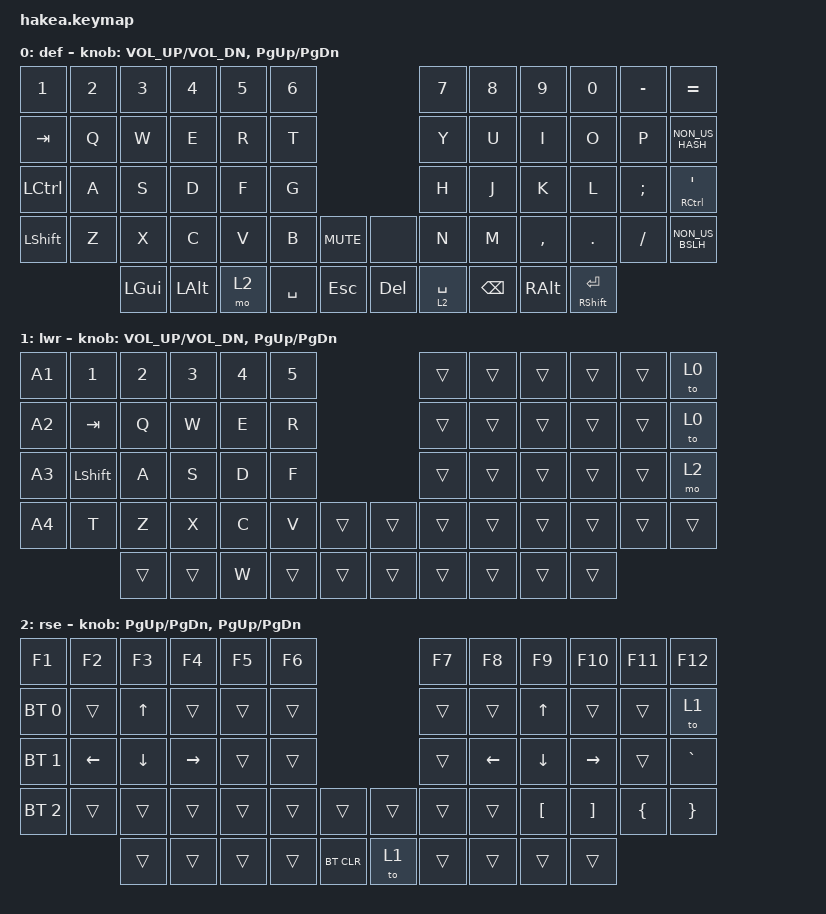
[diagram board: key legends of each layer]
#include <behaviors.dtsi>
#include <dt-bindings/zmk/keys.h>
#include <dt-bindings/zmk/bt.h>
#include <dt-bindings/zmk/outputs.h>
#include <dt-bindings/zmk/rgb.h>
#include <dt-bindings/zmk/ext_power.h>

/ {
    macros {
        A1: A1 {
            label = "alt1";
            compatible = "zmk,behavior-macro";
            #binding-cells = <0>;
            bindings
                = <&macro_press &kp LALT>
				, <&macro_wait_time 50>
				, <&macro_press &kp N1>
				, <&macro_wait_time 100>
				, <&macro_release &kp N1>
				, <&macro_wait_time 10>
                , <&macro_release &kp LALT>
                ;
        };
		A2: A2 {
            label = "alt2";
            compatible = "zmk,behavior-macro";
            #binding-cells = <0>;
            bindings
                = <&macro_press &kp LALT>
				, <&macro_wait_time 50>
				, <&macro_press &kp N2>
				, <&macro_wait_time 100>
				, <&macro_release &kp N2>
				, <&macro_wait_time 10>
                , <&macro_release &kp LALT>
                ;
        };
		A3: A3 {
            label = "alt3";
            compatible = "zmk,behavior-macro";
            #binding-cells = <0>;
            bindings
                = <&macro_press &kp LALT>
				, <&macro_wait_time 50>
				, <&macro_press &kp N2>
				, <&macro_wait_time 100>
				, <&macro_release &kp N3>
				, <&macro_wait_time 10>
                , <&macro_release &kp LALT>
                ;
        };
		A4: A4 {
            label = "alt4";
            compatible = "zmk,behavior-macro";
            #binding-cells = <0>;
            bindings
                = <&macro_press &kp LALT>
				, <&macro_wait_time 50>
				, <&macro_press &kp N2>
				, <&macro_wait_time 100>
				, <&macro_release &kp N4>
				, <&macro_wait_time 10>
                , <&macro_release &kp LALT>
                ;
        };
    };
};

/ {
    keymap {
        compatible = "zmk,keymap";

        default_layer {
            label = "def";
// ------------------------------------------------------------------------------------------------------------
// |   1   |  2  |  3  |  4   |  5   |  6   |               |   7    |  8   |  9  |    0     | - |    =   |
// |  TAB  |  Q  |  W  |  E   |  R   |  T   |               |   Y    |  U   |  I  |    O     | P |    #   |
// | CTRL  |  A  |  S  |  D   |  F   |  G   |               |   H    |  J   |  K  |    L     | ; | CTRL/' |
// | SHIFT |  Z  |  X  |  C   |  V   |  B   | MUTE |  |     |   N    |  M   |  ,  |    .     | / |    \   |
//               | GUI | ALT  |  FN  |  SPC |  ESC |  | DEL | FN/SPC | BSPC | ALT | SHFT/ENT |
            bindings = <
&kp N1 	  &kp N2 &kp N3   &kp N4   &kp N5 &kp N6 					    &kp N7 		&kp N8   &kp N9    &kp N0   	 &kp MINUS &kp EQUAL
&kp TAB   &kp Q  &kp W    &kp E    &kp R  &kp T                         &kp Y  		&kp U    &kp I     &kp O    	 &kp P     &kp NON_US_HASH
&kp LCTRL &kp A  &kp S    &kp D    &kp F  &kp G                         &kp H  		&kp J    &kp K     &kp L    	 &kp SEMI  &mt RCTRL SQT
&kp LSHFT &kp Z  &kp X    &kp C    &kp V  &kp B     &kp C_MUTE	&none   &kp N  		&kp M    &kp COMMA &kp DOT  	 &kp FSLH  &kp NON_US_BSLH
                 &kp LGUI &kp LALT &mo 2  &kp SPACE &kp ESC  	&kp DEL &lt 2 SPACE &kp BSPC &kp RALT  &mt RSHFT RET
            >;

            sensor-bindings = <&inc_dec_kp C_VOL_UP C_VOL_DN &inc_dec_kp PG_UP PG_DN>;
        };

        game_layer {
        label = "lwr";

// ------------------------------------------------------------------------------------------------------------
// | A1 |   1   |  2  |  3  |   4  |  5  |             |  |  |  |  |  | BASE |
// | A2 |  TAB  |  Q  |  W  |   E  |  R  |             |  |  |  |  |  | BASE |
// | A3 | SHIFT |  A  |  S  |   D  |  F  |             |  |  |  |  |  |  FN  |
// | A4 |   T   |  Z  |  X  |   C  |  V  |     |    |  |  |  |  |  |  |      | 
//              | GUI | ALT | WALK | SPC | ESC |    |  |  |  |  |  |
            bindings = <
&A1 &kp N1    &kp N2 &kp N3 &kp N4 &kp N5                 &trans &trans &trans &trans &trans  &to 0
&A2 &kp TAB   &kp Q  &kp W  &kp E  &kp R                  &trans &trans &trans &trans &trans  &to 0
&A3 &kp LSHFT &kp A  &kp S  &kp D  &kp F                  &trans &trans &trans &trans &trans  &mo 2
&A4 &kp T	  &kp Z  &kp X 	&kp C  &kp V  &trans   &trans &trans &trans &trans &trans &trans  &trans
              &trans &trans &kp W  &trans &trans   &trans &trans &trans &trans &trans
            >;

            sensor-bindings = <&inc_dec_kp C_VOL_UP C_VOL_DN &inc_dec_kp PG_UP PG_DN>;
        };

        fn_layer {
          label = "rse";
// ------------------------------------------------------------------------------------------------------------
// | F1  |  F2  |  F3  |   F4  | F5 | F6 |                  | F7 |  F8  |  F9  |  F10  | F11 | F12  |
// | BT0 |      |  UP  |       |    |    |                  |    |      |  UP  |       |     | GAME |
// | BT1 | LEFT | DOWN | RIGHT |    |    |                  |    | LEFT | DOWN | RIGHT |     |  `¬  |
// | BT2 |      |      |       |    |    |        |  |      |    |      |  [   |   ]   |  {  |   }  |
//              |      |       |    |    | BT_CLR |  | GAME |    |      |      |       |
            bindings = <
&kp F1 		 &kp F2   &kp F3   &kp F4    &kp F5 &kp F6              	   &kp F7 &kp F8   &kp F9   &kp F10   &kp F11  &kp F12
&bt BT_SEL 0 &trans   &kp UP   &trans  	 &trans &trans              	   &trans &trans   &kp UP   &trans    &trans   &to 1
&bt BT_SEL 1 &kp LEFT &kp DOWN &kp RIGHT &trans &trans              	   &trans &kp LEFT &kp DOWN &kp RIGHT &trans   &kp GRAVE
&bt BT_SEL 2 &trans   &trans   &trans    &trans &trans  &trans      &trans &trans &trans   &kp LBKT &kp RBKT  &kp LBRC &kp RBRC
                      &trans   &trans    &trans &trans  &bt BT_CLR  &to 1  &trans &trans   &trans   &trans
            >;

            sensor-bindings = <&inc_dec_kp PG_UP PG_DN &inc_dec_kp PG_UP PG_DN>;
        };
    };
};
